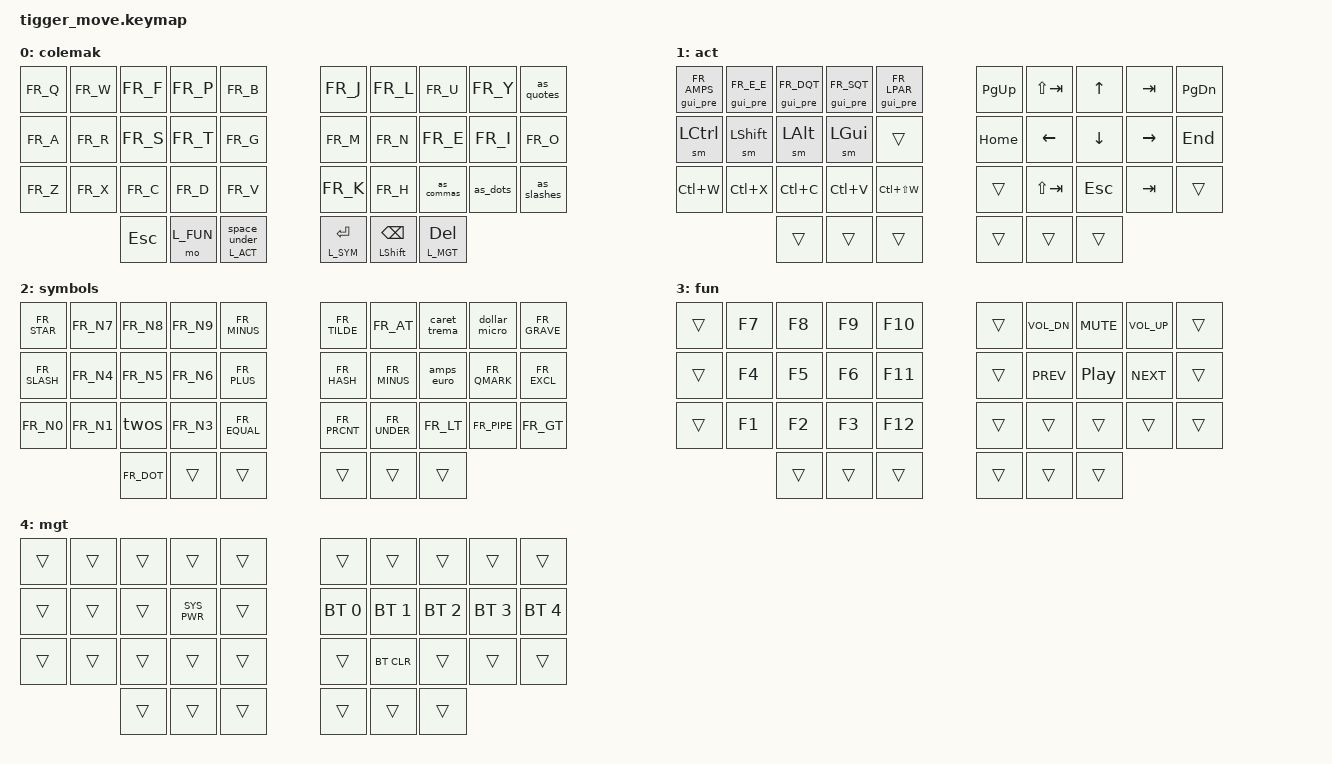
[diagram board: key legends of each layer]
#include <behaviors.dtsi>
#include <behaviors/sticky_modifiers.dtsi>
#include <dt-bindings/zmk/keys.h>
#include <dt-bindings/zmk/bt.h>
#include <dt-bindings/zmk/outputs.h>
#include "layers.h"
#include "36.h"
#include "keys_fr.h"
#include "combos.h"
#include "macros.h"
#include "helpers.h"

&caps_word {
    continue-list = <FR_M UNDERSCORE FR_MINUS BACKSPACE DELETE LSHIFT>;
};

// BASE: Right hand custom keys with autoshift
CUSTOM_AUTOSHIFT(commas, FR_COMMA, FR_SEMI)
#define as_commas auto_shift_commas FR_SEMI 0

CUSTOM_AUTOSHIFT(dots, FR_DOT, FR_COLON)
#define as_dots auto_shift_dots FR_COLON 0

CUSTOM_AUTOSHIFT(quotes, FR_SINGLE_QUOTE, FR_DOUBLE_QUOTES)
#define as_quotes auto_shift_quotes FR_DOUBLE_QUOTES 0

CUSTOM_AUTOSHIFT(slashes, FR_SLASH, FR_BACKSLASH)
#define as_slashes auto_shift_slashes FR_BACKSLASH 0

// SYM: Left hand custom keys
CUSTOM_KEY(twos, FR_N2, FR_SQUARE)

// SYM: Right hand custom keys 
CUSTOM_KEY(caret_trema, FR_CARET, FR_TREMA)
CUSTOM_KEY(amps_euro, FR_AMPS, FR_EURO)
CUSTOM_KEY(dollar_micro, FR_DOLLAR, FR_MICRO)
CUSTOM_KEY(space_under, SPACE, FR_UNDER)



/ {
  behaviors {
    ta: ta {
      compatible = "zmk,behavior-hold-tap";
      #binding-cells = <2>;
      flavor = "balanced";
      tapping-term-ms = <1000>;
      quick-tap-ms = <150>;
      bindings = <&mo>, <&space_under>;
    };

    tmk: tmk {
      compatible = "zmk,behavior-hold-tap";
      #binding-cells = <2>;
      flavor = "hold-preferred";
      tapping-term-ms = <200>;
      quick-tap-ms = <150>;
      bindings = <&mo>, <&kp>;
    };

    tkk: tkk {
      compatible = "zmk,behavior-hold-tap";
      #binding-cells = <2>;
      flavor = "hold-preferred";
      tapping-term-ms = <200>;
      quick-tap-ms = <150 >;
      bindings = <&kp>, <&kp>;
    };
  };

  keymap {
    compatible = "zmk,keymap";

    base_layer {
      display-name = "colemak";
      bindings = <
// ╭───────────────┬───────────────┬───────────────┬───────────────┬───────────────╮   ╭───────────────┬───────────────┬───────────────┬───────────────┬───────────────╮
       &kp FR_Q        &kp FR_W        &kp FR_F        &kp FR_P        &kp FR_B            &kp FR_J        &kp FR_L        &kp FR_U        &kp FR_Y        &as_quotes
// ├───────────────┼───────────────┼───────────────┼───────────────┼───────────────┤   ├───────────────┼───────────────┼───────────────┼───────────────┼───────────────┤
       &kp FR_A        &kp FR_R        &kp FR_S        &kp FR_T        &kp FR_G            &kp FR_M        &kp FR_N        &kp FR_E        &kp FR_I        &kp FR_O
// ├───────────────┼───────────────┼───────────────┼───────────────┼───────────────┤   ├───────────────┼───────────────┼───────────────┼───────────────┼───────────────┤
       &kp FR_Z        &kp FR_X        &kp FR_C        &kp FR_D        &kp FR_V            &kp FR_K        &kp FR_H       &as_commas       &as_dots        &as_slashes
// ╰───────────────┴───────────────┼───────────────┼───────────────┼───────────────┤   ├───────────────┼───────────────┼───────────────┼───────────────┴───────────────╯
                                       &kp ESC         &mo L_FUN     &ta L_ACT 0       &tmk L_SYM ENTER &tkk LSHIFT BSPC &tmk L_MGT DEL
//                                 ╰───────────────┴───────────────┴───────────────╯   ╰───────────────┴───────────────┴───────────────╯
      >;
    };

    action_layer {
      display-name = "act";
      bindings = <
// ╭───────────────┬───────────────┬───────────────┬───────────────┬───────────────╮   ╭───────────────┬───────────────┬───────────────┬───────────────┬───────────────╮
   &gui_pre FR_AMPS &gui_pre FR_E_E &gui_pre FR_DQT &gui_pre FR_SQT &gui_pre FR_LPAR      &kp PAGE_UP     &kp LS(TAB)       &kp UP         &kp TAB       &kp PAGE_DOWN
// ├───────────────┼───────────────┼───────────────┼───────────────┼───────────────┤   ├───────────────┼───────────────┼───────────────┼───────────────┼───────────────┤
       &sm LCTRL       &sm LSHFT       &sm LALT        &sm LGUI          &trans            &kp HOME         &kp LEFT        &kp DOWN       &kp RIGHT       &kp END
// ├───────────────┼───────────────┼───────────────┼───────────────┼───────────────┤   ├───────────────┼───────────────┼───────────────┼───────────────┼───────────────┤
       &kp LC(W)       &kp LC(X)       &kp LC(C)       &kp LC(V)     &kp LC(LS(W))          &trans        &kp LS(TAB)      &kp ESC         &kp TAB         &trans
// ╰───────────────┴───────────────┼───────────────┼───────────────┼───────────────┤   ├───────────────┼───────────────┼───────────────┼───────────────┴───────────────╯
                                        &trans          &trans           &trans             &trans          &trans          &trans
//                                 ╰───────────────┴───────────────┴───────────────╯   ╰───────────────┴───────────────┴───────────────╯
      >;
    };

    sym_layer {
      display-name = "symbols";
      bindings = <
// ╭───────────────┬───────────────┬───────────────┬───────────────┬───────────────╮   ╭───────────────┬───────────────┬───────────────┬───────────────┬───────────────╮
     &kp FR_STAR       &kp FR_N7       &kp FR_N8       &kp FR_N9      &kp FR_MINUS       &kp FR_TILDE     &kp FR_AT       &caret_trema   &dollar_micro    &kp FR_GRAVE
// ├───────────────┼───────────────┼───────────────┼───────────────┼───────────────┤   ├───────────────┼───────────────┼───────────────┼───────────────┼───────────────┤
     &kp FR_SLASH      &kp FR_N4       &kp FR_N5       &kp FR_N6      &kp FR_PLUS        &kp FR_HASH      &kp FR_MINUS    &amps_euro      &kp FR_QMARK    &kp FR_EXCL
// ├───────────────┼───────────────┼───────────────┼───────────────┼───────────────┤   ├───────────────┼───────────────┼───────────────┼───────────────┼───────────────┤
     &kp FR_N0         &kp FR_N1         &twos         &kp FR_N3      &kp FR_EQUAL       &kp FR_PRCNT    &kp FR_UNDER     &kp FR_LT       &kp FR_PIPE     &kp FR_GT
// ╰───────────────┴───────────────┼───────────────┼───────────────┼───────────────┤   ├───────────────┼───────────────┼───────────────┼───────────────┴───────────────╯
                                      &kp FR_DOT        &trans          &trans               &trans         &trans           &trans
//                                 ╰───────────────┴───────────────┴───────────────╯   ╰───────────────┴───────────────┴───────────────╯
      >;
    };

    fun_layer {
      display-name = "fun";
      bindings = <
// ╭───────────────┬───────────────┬───────────────┬───────────────┬───────────────╮   ╭───────────────┬───────────────┬───────────────┬───────────────┬───────────────╮
         &trans         &kp F7          &kp F8          &kp F9          &kp F10              &trans      &kp C_VOL_DN     &kp C_MUTE     &kp C_VOL_UP       &trans
// ├───────────────┼───────────────┼───────────────┼───────────────┼───────────────┤   ├───────────────┼───────────────┼───────────────┼───────────────┼───────────────┤
         &trans         &kp F4          &kp F5          &kp F6          &kp F11              &trans       &kp C_PREV       &kp C_PP       &kp C_NEXT        &trans
// ├───────────────┼───────────────┼───────────────┼───────────────┼───────────────┤   ├───────────────┼───────────────┼───────────────┼───────────────┼───────────────┤
         &trans         &kp F1          &kp F2          &kp F3          &kp F12              &trans         &trans          &trans          &trans          &trans
// ╰───────────────┴───────────────┼───────────────┼───────────────┼───────────────┤   ├───────────────┼───────────────┼───────────────┼───────────────┴───────────────╯
                                        &trans          &trans          &trans               &trans         &trans          &trans
//                                 ╰───────────────┴───────────────┴───────────────╯   ╰───────────────┴───────────────┴───────────────╯
      >;
    };

    mgt_layer {
      display-name = "mgt";
      bindings = <
// ╭───────────────┬───────────────┬───────────────┬───────────────┬───────────────╮   ╭───────────────┬───────────────┬───────────────┬───────────────┬───────────────╮
         &trans         &trans          &trans          &trans          &trans               &trans         &trans          &trans          &trans          &trans
// ├───────────────┼───────────────┼───────────────┼───────────────┼───────────────┤   ├───────────────┼───────────────┼───────────────┼───────────────┼───────────────┤
         &trans         &trans          &trans       &kp SYS_PWR        &trans           &bt BT_SEL 0    &bt BT_SEL 1    &bt BT_SEL 2    &bt BT_SEL 3    &bt BT_SEL 4
// ├───────────────┼───────────────┼───────────────┼───────────────┼───────────────┤   ├───────────────┼───────────────┼───────────────┼───────────────┼───────────────┤
         &trans         &trans          &trans          &trans          &trans               &trans       &bt BT_CLR        &trans          &trans          &trans
// ╰───────────────┴───────────────┼───────────────┼───────────────┼───────────────┤   ├───────────────┼───────────────┼───────────────┼───────────────┴───────────────╯
                                        &trans          &trans          &trans               &trans         &trans          &trans
//                                 ╰───────────────┴───────────────┴───────────────╯   ╰───────────────┴───────────────┴───────────────╯
      >;
    };
  };
};
